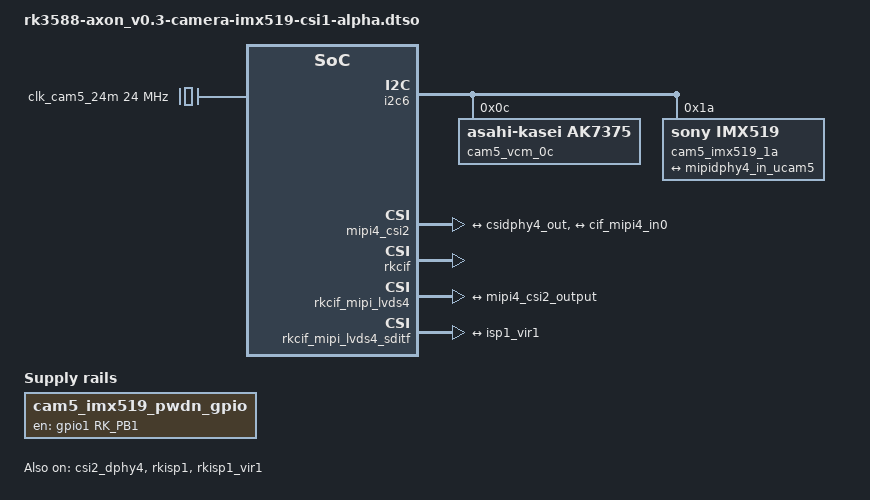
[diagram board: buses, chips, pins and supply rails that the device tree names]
// SPDX-License-Identifier: GPL-2.0+
// Copyright (C) 2024 Vicharak Computers PVT LTD

/dts-v1/;
/plugin/;

#include <dt-bindings/gpio/gpio.h>
#include <dt-bindings/pinctrl/rockchip.h>

&{/} {
	metadata {
		title = "Enable Arducam 16MP Camera (IMX519) on CSI1 Alpha Axon V0.3";
		compatible = "vicharak,rk3588-axon", "rockchip,rk3588";
		category = "camera";
		exclusive = "cam5", "imx519_6_1a", "csi2_dphy4", "mipi4_csi2", \
			    "rkcif_mipi_lvds4", "rkcif_mipi_lvds4_sditf", \
			    "rkisp1_vir1", "cam5_vcm_0c";
		description = "Enables IMX519 based Arducam 16MP Camera on
\t\tVicharak Axon at I2C 6 bus address 1a on dphy4";
	};

	cam5_imx519_pwdn_gpio: cam5-pwdn-gpio {
		status = "okay";
		compatible = "regulator-fixed";
		regulator-name = "cam5_pwdn_gpio";
		regulator-always-on;
		regulator-boot-on;
		enable-active-high;
		gpio = <&gpio1 RK_PB1 GPIO_ACTIVE_HIGH>;
		pinctrl-names = "default";
		pinctrl-0 = <&cam5_pwdn_gpio>;
	};
	
	clk_cam5_24m: external-cam5-clock-24m {
		status = "okay";
		compatible = "fixed-clock";
		clock-frequency = <24000000>;
		clock-output-names = "clk_cam5_24m";
		#clock-cells = <0>;
	};
};

&i2c6 {
	status = "okay";
	#address-cells = <1>;
	#size-cells = <0>;
	
	cam5_vcm_0c: cam5-vcm@0c {
		compatible = "asahi-kasei,ak7375";
		reg = <0x0c>;
		status = "okay";
	};

	cam5_imx519_1a: cam5-imx519@1a {
		status = "okay";
		compatible = "sony,imx519";
		reg = <0x1a>;

		clocks = <&clk_cam5_24m>;
		clock-names = "xclk";

		rockchip,camera-module-index = <5>;
		rockchip,camera-module-facing = "front";
		rockchip,camera-module-name = "arducam";
		rockchip,camera-module-lens-name = "default";

		lens-focus = <&cam5_vcm_0c>;

		port {
			cam5_imx519_out0: endpoint {
				remote-endpoint = <&mipidphy4_in_ucam5>;
				link-frequencies = /bits/ 64 <408000000>;
				data-lanes = <1 2>;
			};
		};
	};
};

&csi2_dphy4 {
	status = "okay";

	ports {
		#address-cells = <1>;
		#size-cells = <0>;

		port@0 {
			reg = <0>;
			#address-cells = <1>;
			#size-cells = <0>;

			mipidphy4_in_ucam5: endpoint@1 {
				reg = <1>;
				remote-endpoint = <&cam5_imx519_out0>;
				data-lanes = <1 2>;
			};
		};

		port@1 {
			reg = <1>;
			#address-cells = <1>;
			#size-cells = <0>;

			csidphy4_out: endpoint@0 {
				reg = <0>;
				remote-endpoint = <&mipi4_csi2_input>;
			};
		};
	};
};

&mipi4_csi2 {
	status = "okay";

	ports {
		#address-cells = <1>;
		#size-cells = <0>;

		port@0 {
			reg = <0>;
			#address-cells = <1>;
			#size-cells = <0>;

			mipi4_csi2_input: endpoint@1 {
				reg = <1>;
				remote-endpoint = <&csidphy4_out>;
			};
		};

		port@1 {
			reg = <1>;
			#address-cells = <1>;
			#size-cells = <0>;

			mipi4_csi2_output: endpoint@0 {
				reg = <0>;
				remote-endpoint = <&cif_mipi4_in0>;
			};
		};
	};
};

&rkcif {
	status = "okay";
};

&rkcif_mipi_lvds4 {
	status = "okay";

	port {
		cif_mipi4_in0: endpoint {
			remote-endpoint = <&mipi4_csi2_output>;
		};
	};
};

&rkcif_mipi_lvds4_sditf {
	status = "okay";

	port {
		mipi_lvds4_sditf: endpoint {
			remote-endpoint = <&isp1_vir1>;
		};
	};
};

&rkcif_mmu {
	status = "okay";
};

&rkisp1 {
	status = "okay";
};

&isp1_mmu {
	status = "okay";
};

&rkisp1_vir1 {
	status = "okay";

	port {
		#address-cells = <1>;
		#size-cells = <0>;

		isp1_vir1: endpoint@0 {
			reg = <0>;
			remote-endpoint = <&mipi_lvds4_sditf>;
		};
	};
};

&pinctrl {
	camera {
		cam5_pwdn_gpio: cam5-pwdn-gpio {
			rockchip,pins = <1 RK_PB1 RK_FUNC_GPIO &pcfg_pull_up>;
		};
	};
};
